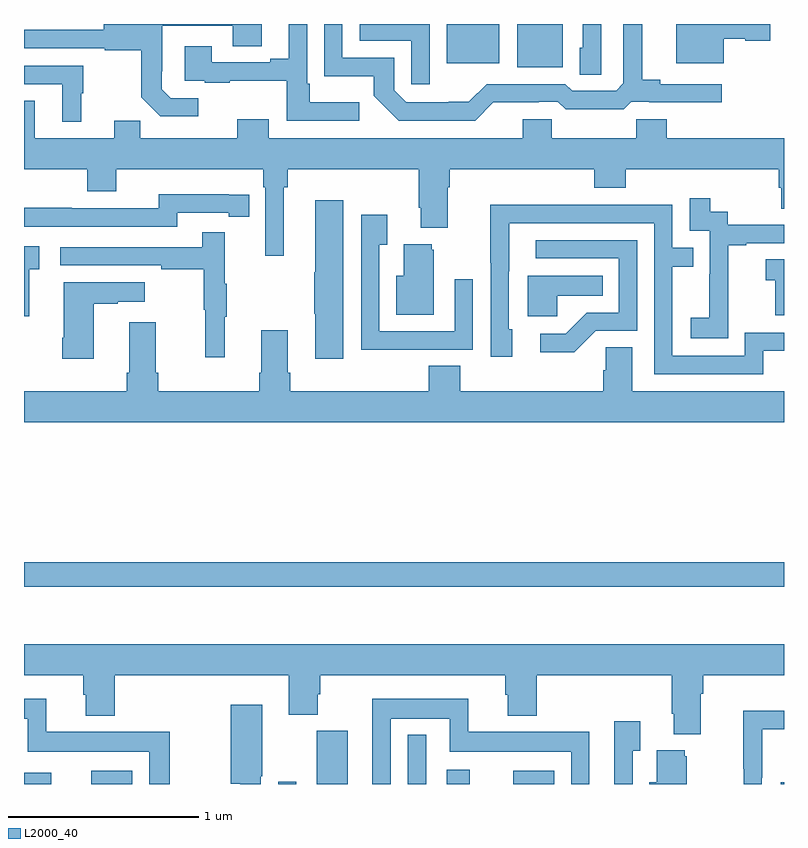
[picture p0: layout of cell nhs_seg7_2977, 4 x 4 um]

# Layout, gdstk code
import gdstk
lib = gdstk.Library(unit=1e-6, precision=1e-09)
def R(c, l, rs):  # rectangles x0, y0, x1, y1
    for r in rs: c.add(gdstk.rectangle(r[:2], r[2:], *l))
def P(c, l, *ps):  # polygons
    for p in ps: c.add(gdstk.Polygon(p, *l))
L2000_40 = (2000, 40)

nhs_seg7_2977 = lib.new_cell('nhs_seg7_2977')
R(nhs_seg7_2977, L2000_40, [(301,1044,301.144,1044.058), (301.355,1044,301.57,1044.07), (302.337,1044,302.433,1044.013), (302.54,1044,302.704,1044.279), (303.021,1044,303.117,1044.259), (303.224,1044,303.346,1044.076), (303.575,1044,303.79,1044.07), (304.982,1044,305,1044.01), (301,1045.038,305,1045.166), (303.596,1047.773,303.835,1048), (303.224,1047.794,303.502,1048)])
P(nhs_seg7_2977, L2000_40, [(303.135,1048),(302.766,1048),(302.766,1047.912),(303.039,1047.912),(303.039,1047.684),(303.135,1047.684)],
  [(303.47,1047.587),(303.71,1047.587),(303.71,1047.591),(303.81,1047.591),(303.85,1047.552),(304.157,1047.552),(304.197,1047.591),(304.291,1047.591),(304.291,1047.587),(304.672,1047.587),(304.672,1047.684),(304.348,1047.684),(304.348,1047.707),(304.253,1047.707),(304.253,1048),(304.155,1048),(304.155,1047.687),(304.116,1047.648),(303.885,1047.648),(303.849,1047.684),(303.435,1047.684),(303.341,1047.59),(303.236,1047.59),(303.236,1047.588),(303.012,1047.588),(302.949,1047.651),(302.949,1047.822),(302.676,1047.822),(302.676,1048),(302.58,1048),(302.58,1047.725),(302.842,1047.725),(302.842,1047.623),(302.972,1047.492),(303.375,1047.492)],
  [(304.038,1048),(303.942,1048),(303.942,1047.876),(303.926,1047.876),(303.926,1047.733),(304.038,1047.733)],
  [(301.918,1047.609),(301.773,1047.609),(301.726,1047.656),(301.726,1047.751),(301.728,1047.751),(301.728,1047.992),(302.099,1047.992),(302.099,1047.883),(302.251,1047.883),(302.251,1048),(301.421,1048),(301.421,1047.969),(301,1047.969),(301,1047.873),(301.425,1047.873),(301.425,1047.861),(301.617,1047.861),(301.617,1047.615),(301.717,1047.515),(301.918,1047.515)],
  [(302.764,1047.589),(302.503,1047.589),(302.503,1047.685),(302.49,1047.685),(302.49,1048),(302.393,1048),(302.393,1047.817),(302.297,1047.817),(302.297,1047.798),(301.987,1047.798),(301.987,1047.883),(301.847,1047.883),(301.847,1047.702),(301.951,1047.702),(301.951,1047.69),(302.083,1047.69),(302.083,1047.701),(302.382,1047.701),(302.382,1047.492),(302.764,1047.492)],
  [(304.684,1047.923),(304.797,1047.923),(304.797,1047.911),(304.927,1047.911),(304.927,1048),(304.433,1048),(304.433,1047.794),(304.684,1047.794)],
  [(301.3,1047.636),(301.312,1047.636),(301.312,1047.78),(301,1047.78),(301,1047.684),(301.202,1047.684),(301.202,1047.485),(301.3,1047.485)],
  [(302.368,1047.14),(302.387,1047.14),(302.387,1047.236),(303.077,1047.236),(303.077,1047.034),(303.089,1047.034),(303.089,1046.927),(303.229,1046.927),(303.229,1047.14),(303.242,1047.14),(303.242,1047.236),(304.001,1047.236),(304.001,1047.137),(304.166,1047.137),(304.166,1047.236),(304.973,1047.236),(304.973,1047.138),(304.985,1047.138),(304.985,1047.028),(305,1047.028),(305,1047.4),(304.382,1047.4),(304.382,1047.498),(304.222,1047.498),(304.222,1047.4),(303.777,1047.4),(303.777,1047.498),(303.626,1047.498),(303.626,1047.4),(302.287,1047.4),(302.287,1047.499),(302.123,1047.499),(302.123,1047.4),(301.613,1047.4),(301.613,1047.491),(301.475,1047.491),(301.475,1047.4),(301.057,1047.4),(301.057,1047.595),(301,1047.595),(301,1047.236),(301.334,1047.236),(301.334,1047.119),(301.486,1047.119),(301.486,1047.236),(302.258,1047.236),(302.258,1047.14),(302.271,1047.14),(302.271,1046.781),(302.368,1046.781)],
  [(301.806,1047.006),(302.078,1047.006),(302.078,1046.986),(302.186,1046.986),(302.186,1047.102),(302.078,1047.102),(302.078,1047.103),(301.71,1047.103),(301.71,1047.03),(301.25,1047.03),(301.25,1047.032),(301,1047.032),(301,1046.934),(301.806,1046.934)],
  [(304.707,1046.551),(304.706,1046.551),(304.706,1046.835),(304.801,1046.835),(304.801,1046.847),(305,1046.847),(305,1046.943),(304.704,1046.943),(304.704,1047.012),(304.612,1047.012),(304.612,1047.082),(304.503,1047.082),(304.503,1046.913),(304.608,1046.913),(304.608,1046.684),(304.607,1046.684),(304.607,1046.455),(304.509,1046.455),(304.509,1046.345),(304.707,1046.345)],
  [(302.68,1047.073),(302.534,1047.073),(302.534,1046.693),(302.527,1046.693),(302.527,1046.476),(302.534,1046.476),(302.534,1046.238),(302.68,1046.238)],
  [(304.891,1046.28),(305,1046.28),(305,1046.376),(304.794,1046.376),(304.794,1046.253),(304.413,1046.253),(304.413,1046.722),(304.523,1046.722),(304.523,1046.823),(304.413,1046.823),(304.413,1047.048),(303.917,1047.048),(303.917,1047.05),(303.454,1047.05),(303.454,1046.743),(303.456,1046.743),(303.456,1046.25),(303.571,1046.25),(303.571,1046.394),(303.552,1046.394),(303.552,1046.698),(303.553,1046.698),(303.553,1046.952),(304.317,1046.952),(304.317,1046.157),(304.891,1046.157)],
  [(303.047,1046.286),(303.363,1046.286),(303.363,1046.656),(303.267,1046.656),(303.267,1046.382),(302.871,1046.382),(302.871,1046.839),(302.911,1046.839),(302.911,1046.995),(302.775,1046.995),(302.775,1046.285),(303.047,1046.285)],
  [(302.057,1046.459),(302.068,1046.459),(302.068,1046.633),(302.057,1046.633),(302.057,1046.905),(301.939,1046.905),(301.939,1046.826),(301.191,1046.826),(301.191,1046.73),(301.723,1046.73),(301.723,1046.71),(301.947,1046.71),(301.947,1046.496),(301.954,1046.496),(301.954,1046.247),(302.057,1046.247)],
  [(304.008,1046.385),(304.227,1046.385),(304.227,1046.862),(303.693,1046.862),(303.693,1046.766),(304.131,1046.766),(304.131,1046.481),(303.962,1046.481),(303.851,1046.37),(303.717,1046.37),(303.717,1046.273),(303.895,1046.273)],
  [(303.157,1046.811),(303.146,1046.811),(303.146,1046.842),(302.999,1046.842),(302.999,1046.674),(302.96,1046.674),(302.96,1046.471),(303.157,1046.471)],
  [(301.028,1046.709),(301.081,1046.709),(301.081,1046.83),(301,1046.83),(301,1046.463),(301.028,1046.463)],
  [(305,1046.761),(304.905,1046.761),(304.905,1046.651),(304.954,1046.651),(304.954,1046.466),(305,1046.466)],
  [(303.807,1046.57),(304.046,1046.57),(304.046,1046.674),(303.65,1046.674),(303.65,1046.462),(303.807,1046.462)],
  [(301.366,1046.527),(301.493,1046.527),(301.493,1046.537),(301.636,1046.537),(301.636,1046.641),(301.208,1046.641),(301.208,1046.35),(301.201,1046.35),(301.201,1046.238),(301.366,1046.238)],
  [(305,1046.068),(304.201,1046.068),(304.201,1046.3),(304.062,1046.3),(304.062,1046.177),(304.049,1046.177),(304.049,1046.068),(303.296,1046.068),(303.296,1046.201),(303.131,1046.201),(303.131,1046.068),(302.402,1046.068),(302.402,1046.164),(302.389,1046.164),(302.389,1046.389),(302.249,1046.389),(302.249,1046.164),(302.237,1046.164),(302.237,1046.068),(301.706,1046.068),(301.706,1046.164),(301.693,1046.164),(301.693,1046.43),(301.553,1046.43),(301.553,1046.164),(301.541,1046.164),(301.541,1046.068),(301,1046.068),(301,1045.904),(305,1045.904)],
  [(304.561,1044.476),(304.574,1044.476),(304.574,1044.572),(305,1044.572),(305,1044.736),(301,1044.736),(301,1044.572),(301.313,1044.572),(301.313,1044.471),(301.325,1044.471),(301.325,1044.359),(301.478,1044.359),(301.478,1044.572),(302.393,1044.572),(302.393,1044.364),(302.545,1044.364),(302.545,1044.473),(302.558,1044.473),(302.558,1044.572),(303.533,1044.572),(303.533,1044.471),(303.545,1044.471),(303.545,1044.359),(303.698,1044.359),(303.698,1044.572),(304.409,1044.572),(304.409,1044.37),(304.421,1044.37),(304.421,1044.263),(304.561,1044.263)],
  [(301.768,1044.274),(301.118,1044.274),(301.118,1044.448),(301,1044.448),(301,1044.344),(301.02,1044.344),(301.02,1044.17),(301.659,1044.17),(301.659,1044),(301.768,1044)],
  [(302.931,1044.344),(303.24,1044.344),(303.24,1044.17),(303.879,1044.17),(303.879,1044),(303.976,1044),(303.976,1044.274),(303.338,1044.274),(303.338,1044.448),(302.834,1044.448),(302.834,1044),(302.931,1044)],
  [(302.247,1044.042),(302.254,1044.042),(302.254,1044.418),(302.089,1044.418),(302.089,1044.002),(302.139,1044.002),(302.139,1044),(302.247,1044)],
  [(304.884,1044.034),(304.885,1044.034),(304.885,1044.288),(305,1044.288),(305,1044.386),(304.786,1044.386),(304.786,1044.079),(304.788,1044.079),(304.788,1044),(304.884,1044)],
  [(304.203,1044.175),(304.243,1044.175),(304.243,1044.331),(304.106,1044.331),(304.106,1044),(304.203,1044)],
  [(304.489,1044.147),(304.478,1044.147),(304.478,1044.178),(304.331,1044.178),(304.331,1044.01),(304.292,1044.01),(304.292,1044),(304.489,1044)])

lib.write_gds('nhs_seg7_2977.gds')
